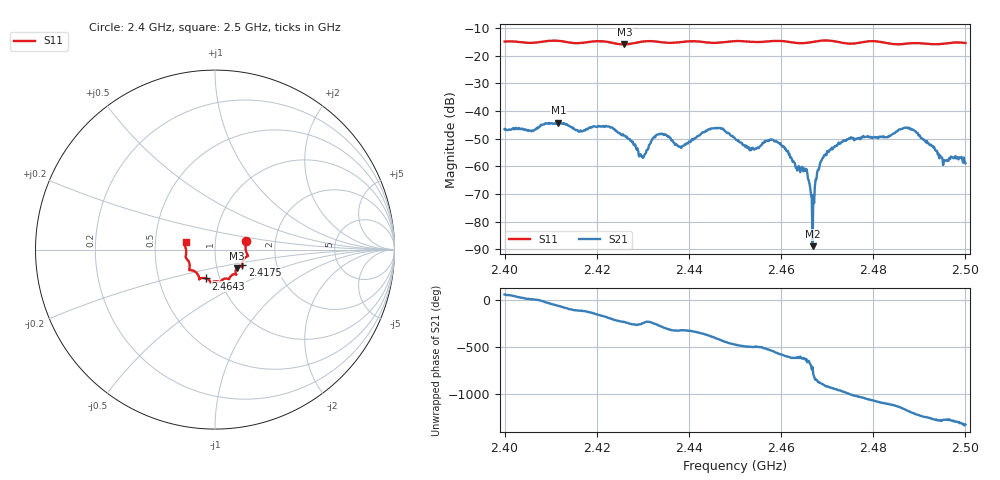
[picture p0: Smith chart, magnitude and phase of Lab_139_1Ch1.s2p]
# Hz S RI R 50
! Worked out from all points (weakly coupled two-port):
!   601 points, 2.4 GHz to 2.5 GHz, reference 50 ohm
!   highest |S21| = -44.25 dB at 2.4117 GHz (marker M1); lowest = -88.9 dB at 2.4668 GHz (marker M2)
!   lowest |S11| = -15.9 dB at 2.426 GHz (marker M3), VSWR 1.38, Z = 62.2 - j13.3 ohm
!   |S11| at or under -10 dB: start of sweep to end of sweep
!   S12 and S22 are empty: the file has one direction only
!   S11 on the Smith chart (normalised r, x): 2.4 GHz: 1.41, +0.14; 2.4175 GHz: 1.34, -0.23; 2.4643 GHz: 0.86, -0.28; 2.5 GHz: 0.72, +0.06
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2.4e9  0.1732 0.0489  0.0024 0.00404  0 0  0 0
2.411667e9  0.1822 -0.0361  0.00296 -0.00536  0 0  0 0
2.416667e9  0.1528 -0.074  -0.00179 -0.00392  0 0  0 0
2.4175e9  0.1519 -0.0837  -0.00214 -0.00392  0 0  0 0
2.426e9  0.1208 -0.1042  -0.0022 0.00282  0 0  0 0
2.429667e9  0.1166 -0.1355  -0.000392 0.00146  0 0  0 0
2.433333e9  0.1136 -0.1372  -6.38e-05 0.00376  0 0  0 0
2.438167e9  0.0817 -0.1553  0.00176 0.00143  0 0  0 0
2.445333e9  0.0531 -0.1622  0.00401 -0.00271  0 0  0 0
2.45e9  0.0287 -0.1813  -0.00125 -0.00291  0 0  0 0
2.453667e9  0.0134 -0.1772  -0.00161 -0.00141  0 0  0 0
2.458667e9  -0.0217 -0.1838  -0.00273 0.000695  0 0  0 0
2.464333e9  -0.0498 -0.1607  -0.000212 0.000919  0 0  0 0
2.465667e9  -0.0658 -0.1579  0.000404 0.000673  0 0  0 0
2.466667e9  -0.0762 -0.159  0.000247 -7.6e-05  0 0  0 0
2.466833e9  -0.0775 -0.1593  3.54e-05 5.57e-06  0 0  0 0
2.468333e9  -0.0868 -0.1643  -0.000925 -0.00036  0 0  0 0
2.4705e9  -0.0882 -0.165  -0.00173 0.000937  0 0  0 0
2.483333e9  -0.1409 -0.0897  0.00317 -0.00155  0 0  0 0
2.488167e9  -0.1607 -0.0484  -0.00176 -0.00446  0 0  0 0
2.495333e9  -0.1643 0.0137  -0.00127 0.000269  0 0  0 0
2.5e9  -0.1639 0.0431  -0.000488 0.00102  0 0  0 0
